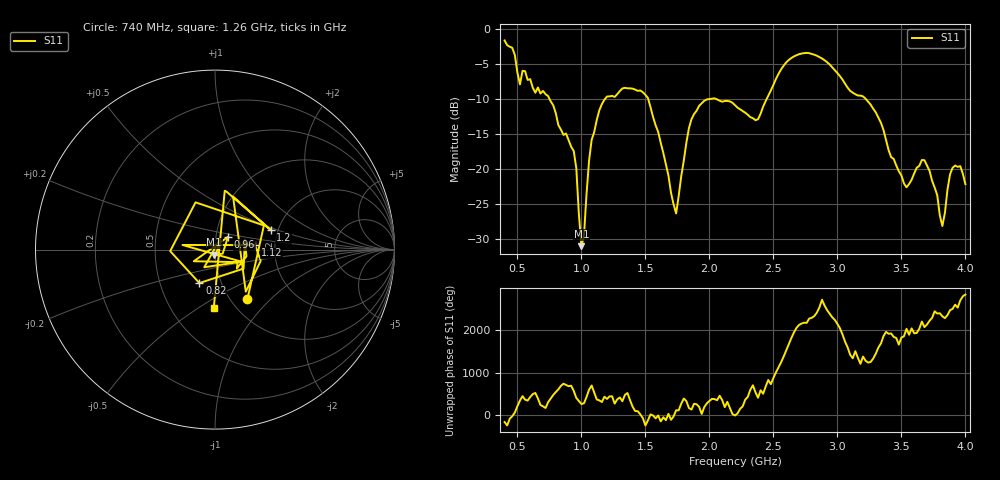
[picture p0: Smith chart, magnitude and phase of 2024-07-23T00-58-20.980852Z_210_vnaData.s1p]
!Created with skrf (http://scikit-rf.org).
# Hz S RI R 50.0
!freq ReS11 ImS11
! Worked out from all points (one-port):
!   181 points, 400 MHz to 4 GHz, reference 50 ohm
!   lowest |S11| = -31.0 dB at 1 GHz (marker M1), VSWR 1.06, Z = 49.4 - j2.74 ohm
!   |S11| at or under -10 dB: 750.8 MHz to 1.185 GHz (434.1 MHz wide, 44.9 % of centre); 1.522 GHz to 2.007 GHz (485 MHz wide, 27.5 % of centre); 3.221 GHz to end of sweep (the widest 3 of 4)
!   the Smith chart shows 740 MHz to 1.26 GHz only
!   S11 on the Smith chart (normalised r, x): 740 MHz: 1.19, -0.74; 820 MHz: 0.79, -0.31; 960 MHz: 1.14, +0.16; 1.12 GHz: 1.57, +0.08; 1.2 GHz: 1.83, +0.45; 1.26 GHz: 0.80, -0.58
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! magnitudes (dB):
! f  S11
! 400 MHz  -1.7
! 520 MHz  -7.9
! 740 MHz  -9.6
! 820 MHz  -13.7
! 860 MHz  -15.1
! 960 MHz  -19.9
! 1 GHz  -31.0
! 1.02 GHz  -29.5
! 1.06 GHz  -18.8
! 1.12 GHz  -13.0
! 1.2 GHz  -9.7
! 1.26 GHz  -9.7
! 1.3 GHz  -8.9
! 1.52 GHz  -9.9
! 1.74 GHz  -26.3
! 1.76 GHz  -23.8
! 1.84 GHz  -14.2
! 1.92 GHz  -11.0
! 2.2 GHz  -10.9
! 2.38 GHz  -12.9
! 2.66 GHz  -3.9
! 3.1 GHz  -8.9
! 3.3 GHz  -11.9
! 3.56 GHz  -22.1
! 3.68 GHz  -18.7
! 3.82 GHz  -28.1
! 3.9 GHz  -19.8
! 4 GHz  -22.1
